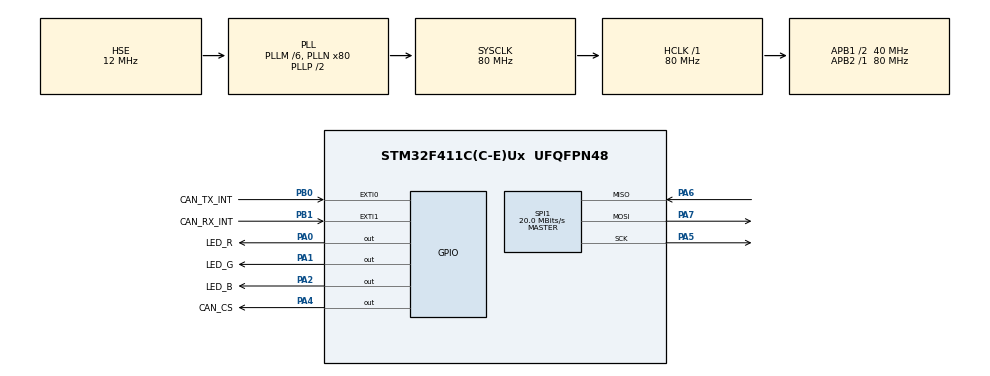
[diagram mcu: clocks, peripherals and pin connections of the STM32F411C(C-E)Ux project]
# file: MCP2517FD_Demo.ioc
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Mcu.Family=STM32F4
Mcu.Name=STM32F411C(C-E)Ux
Mcu.Package=UFQFPN48
NVIC.PriorityGroup=NVIC_PRIORITYGROUP_4
NVIC.TIM1_UP_TIM10_IRQn=true\:0\:0\:false\:false\:true\:true\:true\:true
PA0-WKUP.GPIO_Label=LED_R
PA0-WKUP.GPIO_PuPd=GPIO_PULLUP
PA0-WKUP.Signal=GPIO_Output
PA1.GPIO_Label=LED_G
PA1.GPIO_PuPd=GPIO_PULLUP
PA1.Signal=GPIO_Output
PA13.Mode=Serial_Wire
PA13.Signal=SYS_JTMS-SWDIO
PA14.Mode=Serial_Wire
PA14.Signal=SYS_JTCK-SWCLK
PA2.GPIO_Label=LED_B
PA2.GPIO_PuPd=GPIO_PULLUP
PA2.Signal=GPIO_Output
PA4.GPIO_Label=CAN_CS
PA4.GPIO_PuPd=GPIO_PULLUP
PA4.GPIO_Speed=GPIO_SPEED_FREQ_VERY_HIGH
PA4.Signal=GPIO_Output
PA5.Mode=Full_Duplex_Master
PA5.Signal=SPI1_SCK
PA6.Mode=Full_Duplex_Master
PA6.Signal=SPI1_MISO
PA7.Mode=Full_Duplex_Master
PA7.Signal=SPI1_MOSI
PB0.GPIO_Label=CAN_TX_INT
PB0.GPIO_ModeDefaultEXTI=GPIO_MODE_IT_FALLING
PB0.GPIO_PuPd=GPIO_PULLUP
PB0.Signal=GPXTI0
PB1.GPIO_Label=CAN_RX_INT
PB1.GPIO_ModeDefaultEXTI=GPIO_MODE_IT_FALLING
PB1.GPIO_PuPd=GPIO_PULLUP
PB1.Signal=GPXTI1
PH0\ -\ OSC_IN.Mode=HSE-External-Oscillator
PH0\ -\ OSC_IN.Signal=RCC_OSC_IN
PH1\ -\ OSC_OUT.Mode=HSE-External-Oscillator
PH1\ -\ OSC_OUT.Signal=RCC_OSC_OUT
ProjectManager.HeapSize=0x2000
ProjectManager.StackSize=0x4000
ProjectManager.TargetToolchain=SW4STM32
RCC.48MHZClocksFreq_Value=53333333.333333336
RCC.AHBFreq_Value=80000000
RCC.APB1CLKDivider=RCC_HCLK_DIV2
RCC.APB1Freq_Value=40000000
RCC.APB1TimFreq_Value=80000000
RCC.APB2Freq_Value=80000000
RCC.APB2TimFreq_Value=80000000
RCC.CortexFreq_Value=80000000
RCC.HCLKFreq_Value=80000000
RCC.HSE_VALUE=12000000
RCC.HSI_VALUE=16000000
RCC.LSE_VALUE=32768
RCC.PLLM=6
RCC.PLLN=80
RCC.PLLQ=3
RCC.PLLSourceVirtual=RCC_PLLSOURCE_HSE
RCC.SYSCLKFreq_VALUE=80000000
RCC.SYSCLKSource=RCC_SYSCLKSOURCE_PLLCLK
RCC.VCOOutputFreq_Value=160000000
SPI1.BaudRatePrescaler=SPI_BAUDRATEPRESCALER_4
SPI1.CalculateBaudRate=20.0 MBits/s
SPI1.Direction=SPI_DIRECTION_2LINES
SPI1.Mode=SPI_MODE_MASTER
SPI1.VirtualType=VM_MASTER
TIM10.AutoReloadPreload=TIM_AUTORELOAD_PRELOAD_ENABLE
TIM10.Period=199
TIM10.Prescaler=79
VP_TIM10_VS_ClockSourceINT.Mode=Enable_Timer
board=custom

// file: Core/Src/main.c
/* USER CODE BEGIN Header */
/**
  ******************************************************************************
  * @file           : main.c
  * @brief          : Main program body
  ******************************************************************************
  * @attention
  *
  * Copyright (c) 2023 STMicroelectronics.
  * All rights reserved.
  *
  * This software is licensed under terms that can be found in the LICENSE file
  * in the root directory of this software component.
  * If no LICENSE file comes with this software, it is provided AS-IS.
  *
  ******************************************************************************
  */
/* USER CODE END Header */
#include "main.h"

/* USER CODE BEGIN PD */
#define CAN_RX_MAX_BYTE 64
/* USER CODE END PD */

 SPI_HandleTypeDef hspi1;

TIM_HandleTypeDef htim10;

/* USER CODE BEGIN PV */
uint32_t can_send_nums = 0;
/* USER CODE END PV */

void SystemClock_Config(void);
static void MX_GPIO_Init(void);
static void MX_SPI1_Init(void);
static void MX_TIM10_Init(void);
/* USER CODE BEGIN PFP */
/// CAN

uint8_t can_recv_data[CAN_RX_MAX_BYTE];// drv_canfdspi_defines.h MAX_DATA_BYTES
extern int can_init();
extern int can_test_reg();
extern int8_t can_send_msg(uint16_t id, uint8_t *data, uint16_t size);
extern int8_t can_send_queue_msg(uint16_t id, uint8_t *data, uint16_t size);
extern int32_t can_recv_msg(uint8_t *data);
extern void can_tx_obj_init();
extern uint8_t can_recv_status();
extern uint8_t can_recv_event();
extern uint16_t can_send_status();
extern uint8_t can_send_event();
extern uint16_t can_send_queue_status();
extern uint8_t can_send_queue_event();
extern void can_tx_int_callback();
extern void can_tx_update();
/* USER CODE END PFP */

/* USER CODE BEGIN 0 */
enum{
  OFF,
  RED, GREEN, BLUE
};

void led(uint8_t state){
  switch (state) {
    case 0:
      HAL_GPIO_WritePin(LED_R_GPIO_Port, LED_R_Pin, GPIO_PIN_SET);
      HAL_GPIO_WritePin(LED_G_GPIO_Port, LED_G_Pin, GPIO_PIN_SET);
      HAL_GPIO_WritePin(LED_B_GPIO_Port, LED_B_Pin, GPIO_PIN_SET);
      break;
    case 1:
      HAL_GPIO_WritePin(LED_R_GPIO_Port, LED_R_Pin, GPIO_PIN_RESET);
      HAL_GPIO_WritePin(LED_G_GPIO_Port, LED_G_Pin, GPIO_PIN_SET);
      HAL_GPIO_WritePin(LED_B_GPIO_Port, LED_B_Pin, GPIO_PIN_SET);
      break;
    case 2:
      HAL_GPIO_WritePin(LED_R_GPIO_Port, LED_R_Pin, GPIO_PIN_SET);
      HAL_GPIO_WritePin(LED_G_GPIO_Port, LED_G_Pin, GPIO_PIN_RESET);
      HAL_GPIO_WritePin(LED_B_GPIO_Port, LED_B_Pin, GPIO_PIN_SET);
      break;
    case 3:
      HAL_GPIO_WritePin(LED_R_GPIO_Port, LED_R_Pin, GPIO_PIN_SET);
      HAL_GPIO_WritePin(LED_G_GPIO_Port, LED_G_Pin, GPIO_PIN_SET);
      HAL_GPIO_WritePin(LED_B_GPIO_Port, LED_B_Pin, GPIO_PIN_RESET);
      break;
    default:
      break;
  }
}

void HAL_GPIO_EXTI_Callback(uint16_t GPIO_Pin){
  if(GPIO_Pin == CAN_RX_INT_Pin){
    uint8_t data[CAN_RX_MAX_BYTE];
    can_recv_msg(data);
  }
  else if(GPIO_Pin == CAN_TX_INT_Pin){

  }
}

int8_t send_msg(){
  uint8_t data[8] = {0, 0, 0, 0, 0, 0, 0, 0};
  for(int i=0; i<4; i++)
    data[i] = (can_send_nums >> (8*i)) & 0xFF;
  int8_t ret = can_send_msg(0, data, 8);
  can_send_nums++;
  return ret;
}

void HAL_TIM_PeriodElapsedCallback(TIM_HandleTypeDef *htim){
  if(htim->Instance == TIM10){
    send_msg();
  }
}

/* USER CODE END 0 */

int main(void)
{

  /* MCU Configuration--------------------------------------------------------*/

  /* Reset of all peripherals, Initializes the Flash interface and the Systick. */
  HAL_Init();

  /* Configure the system clock */
  SystemClock_Config();

  /* Initialize all configured peripherals */
  MX_GPIO_Init();
  MX_SPI1_Init();
  MX_TIM10_Init();
  /* USER CODE BEGIN 2 */
  led(OFF);
  can_init();
  can_test_reg();

  can_tx_obj_init();
  HAL_TIM_Base_Start_IT(&htim10);
  led(GREEN);
  /* USER CODE END 2 */

  /* Infinite loop */
  /* USER CODE BEGIN WHILE */
  while (1)
  {
    HAL_Delay(200);
    /* USER CODE END WHILE */

  }
}

void SystemClock_Config(void)
{
  RCC_OscInitTypeDef RCC_OscInitStruct = {0};
  RCC_ClkInitTypeDef RCC_ClkInitStruct = {0};

  /** Configure the main internal regulator output voltage
  */
  __HAL_RCC_PWR_CLK_ENABLE();
  __HAL_PWR_VOLTAGESCALING_CONFIG(PWR_REGULATOR_VOLTAGE_SCALE1);

  /** Initializes the RCC Oscillators according to the specified parameters
  * in the RCC_OscInitTypeDef structure.
  */
  RCC_OscInitStruct.OscillatorType = RCC_OSCILLATORTYPE_HSE;
  RCC_OscInitStruct.HSEState = RCC_HSE_ON;
  RCC_OscInitStruct.PLL.PLLState = RCC_PLL_ON;
  RCC_OscInitStruct.PLL.PLLSource = RCC_PLLSOURCE_HSE;
  RCC_OscInitStruct.PLL.PLLM = 6;
  RCC_OscInitStruct.PLL.PLLN = 80;
  RCC_OscInitStruct.PLL.PLLP = RCC_PLLP_DIV2;
  RCC_OscInitStruct.PLL.PLLQ = 3;
  if (HAL_RCC_OscConfig(&RCC_OscInitStruct) != HAL_OK)
  {
    Error_Handler();
  }

  /** Initializes the CPU, AHB and APB buses clocks
  */
  RCC_ClkInitStruct.ClockType = RCC_CLOCKTYPE_HCLK|RCC_CLOCKTYPE_SYSCLK
                              |RCC_CLOCKTYPE_PCLK1|RCC_CLOCKTYPE_PCLK2;
  RCC_ClkInitStruct.SYSCLKSource = RCC_SYSCLKSOURCE_PLLCLK;
  RCC_ClkInitStruct.AHBCLKDivider = RCC_SYSCLK_DIV1;
  RCC_ClkInitStruct.APB1CLKDivider = RCC_HCLK_DIV2;
  RCC_ClkInitStruct.APB2CLKDivider = RCC_HCLK_DIV1;

  if (HAL_RCC_ClockConfig(&RCC_ClkInitStruct, FLASH_LATENCY_2) != HAL_OK)
  {
    Error_Handler();
  }
}

static void MX_SPI1_Init(void)
{

  /* SPI1 parameter configuration*/
  hspi1.Instance = SPI1;
  hspi1.Init.Mode = SPI_MODE_MASTER;
  hspi1.Init.Direction = SPI_DIRECTION_2LINES;
  hspi1.Init.DataSize = SPI_DATASIZE_8BIT;
  hspi1.Init.CLKPolarity = SPI_POLARITY_LOW;
  hspi1.Init.CLKPhase = SPI_PHASE_1EDGE;
  hspi1.Init.NSS = SPI_NSS_SOFT;
  hspi1.Init.BaudRatePrescaler = SPI_BAUDRATEPRESCALER_4;
  hspi1.Init.FirstBit = SPI_FIRSTBIT_MSB;
  hspi1.Init.TIMode = SPI_TIMODE_DISABLE;
  hspi1.Init.CRCCalculation = SPI_CRCCALCULATION_DISABLE;
  hspi1.Init.CRCPolynomial = 10;
  if (HAL_SPI_Init(&hspi1) != HAL_OK)
  {
    Error_Handler();
  }

}

static void MX_TIM10_Init(void)
{

  htim10.Instance = TIM10;
  htim10.Init.Prescaler = 79;
  htim10.Init.CounterMode = TIM_COUNTERMODE_UP;
  htim10.Init.Period = 199;
  htim10.Init.ClockDivision = TIM_CLOCKDIVISION_DIV1;
  htim10.Init.AutoReloadPreload = TIM_AUTORELOAD_PRELOAD_ENABLE;
  if (HAL_TIM_Base_Init(&htim10) != HAL_OK)
  {
    Error_Handler();
  }

}

static void MX_GPIO_Init(void)
{
  GPIO_InitTypeDef GPIO_InitStruct = {0};

  /* GPIO Ports Clock Enable */
  __HAL_RCC_GPIOH_CLK_ENABLE();
  __HAL_RCC_GPIOA_CLK_ENABLE();
  __HAL_RCC_GPIOB_CLK_ENABLE();

  /*Configure GPIO pin Output Level */
  HAL_GPIO_WritePin(GPIOA, LED_R_Pin|LED_G_Pin|LED_B_Pin|CAN_CS_Pin, GPIO_PIN_RESET);

  /*Configure GPIO pins : LED_R_Pin LED_G_Pin LED_B_Pin */
  GPIO_InitStruct.Pin = LED_R_Pin|LED_G_Pin|LED_B_Pin;
  GPIO_InitStruct.Mode = GPIO_MODE_OUTPUT_PP;
  GPIO_InitStruct.Pull = GPIO_PULLUP;
  GPIO_InitStruct.Speed = GPIO_SPEED_FREQ_LOW;
  HAL_GPIO_Init(GPIOA, &GPIO_InitStruct);

  /*Configure GPIO pin : CAN_CS_Pin */
  GPIO_InitStruct.Pin = CAN_CS_Pin;
  GPIO_InitStruct.Mode = GPIO_MODE_OUTPUT_PP;
  GPIO_InitStruct.Pull = GPIO_PULLUP;
  GPIO_InitStruct.Speed = GPIO_SPEED_FREQ_VERY_HIGH;
  HAL_GPIO_Init(CAN_CS_GPIO_Port, &GPIO_InitStruct);

  /*Configure GPIO pins : CAN_TX_INT_Pin CAN_RX_INT_Pin */
  GPIO_InitStruct.Pin = CAN_TX_INT_Pin|CAN_RX_INT_Pin;
  GPIO_InitStruct.Mode = GPIO_MODE_IT_FALLING;
  GPIO_InitStruct.Pull = GPIO_PULLUP;
  HAL_GPIO_Init(GPIOB, &GPIO_InitStruct);

}

void Error_Handler(void)
{
  __disable_irq();
  while (1)
  {
  }
}
